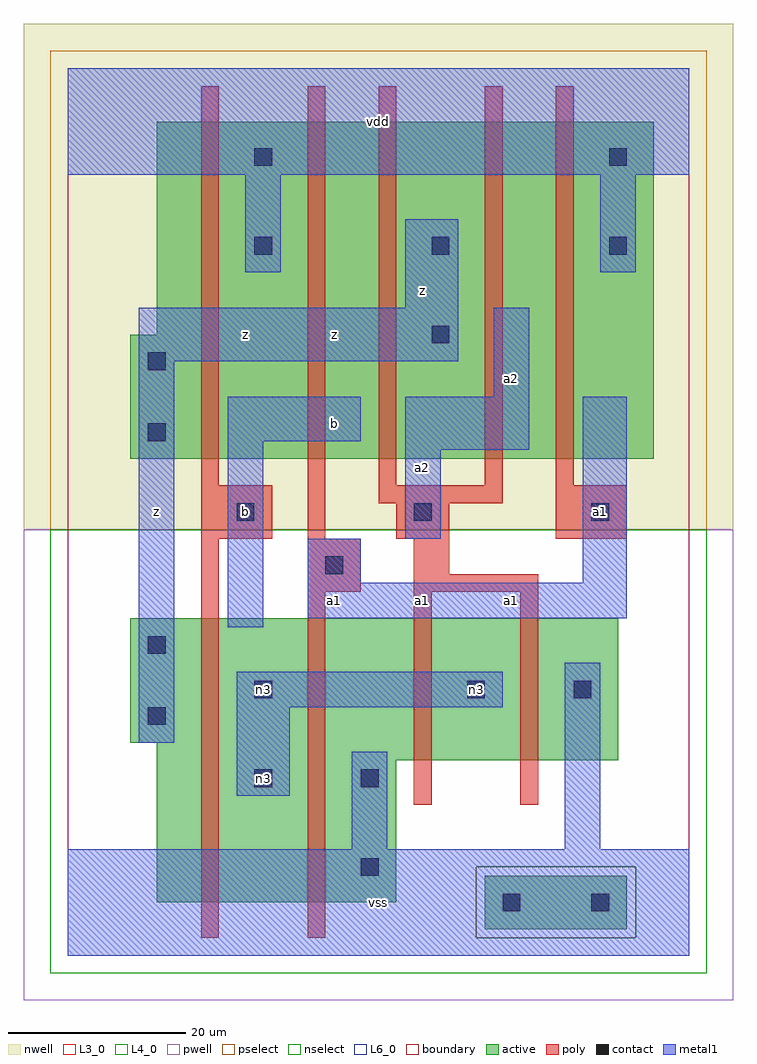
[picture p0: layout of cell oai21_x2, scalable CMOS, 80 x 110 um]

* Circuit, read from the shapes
.subckt oai21_x2 a1 a2 b n3 vdd vss z
M1 n3 b z vss nfet w=32u l=2u
M2 vss a1 n3 vss nfet w=32u l=2u
M3 n3 a2 vss vss nfet w=16u l=2u m=2
M4 vdd b z n1 pfet w=38u l=2u
M5 n2 a1 vdd n1 pfet w=38u l=2u
M6 z a2 n2 n1 pfet w=38u l=2u
M7 n4 a2 z n1 pfet w=38u l=2u
M8 vdd a1 n4 n1 pfet w=38u l=2u
.ends

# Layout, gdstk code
import gdstk
lib = gdstk.Library(unit=1e-6, precision=1e-09)
def R(c, l, rs):  # rectangles x0, y0, x1, y1
    for r in rs: c.add(gdstk.rectangle(r[:2], r[2:], *l))
def A(c, l, x, y, w, h, nx, ny, dx, dy):  # array of equal rectangles
    R(c, l, [(x+i*dx, y+j*dy, x+i*dx+w, y+j*dy+h) for i in range(nx) for j in range(ny)])
L3_0 = (3, 0)
L4_0 = (4, 0)
L6_0 = (6, 0)
contact = (25, 0)
pwell = (41, 0)
nwell = (42, 0)
active = (43, 0)
pselect = (44, 0)
nselect = (45, 0)
poly = (46, 0)
metal1 = (49, 0)
boundary = (63, 0)

oai21_x2 = lib.new_cell('oai21_x2')
R(oai21_x2, L3_0, [(10,6,37,22), (10,22,62,24), (7,24,62,38)])
R(oai21_x2, L4_0, [(7,56,66,70), (10,70,66,94)])
R(oai21_x2, L6_0, [(47,3,63,9)])
A(oai21_x2, contact, 19, 49, 2, 2, 3, 1, 20, 0)
A(oai21_x2, contact, 21, 79, 2, 2, 3, 1, 20, 0)
R(oai21_x2, contact, [(49,5,51,7), (59,5,61,7), (33,9,35,11), (21,19,23,21), (33,19,35,21), (9,26,11,28), (21,29,23,31), (45,29,47,31), (57,29,59,31), (9,34,11,36), (29,43,31,45), (9,58,11,60), (9,66,11,68), (41,69,43,71), (21,89,23,91), (61,89,63,91)])
R(oai21_x2, pwell, [(-5,-5,75,48)])
R(oai21_x2, nwell, [(-5,48,75,105)])
R(oai21_x2, active, [(47,3,63,9), (10,6,37,22), (10,22,62,24), (7,24,62,38), (7,56,66,70), (10,70,66,94)])
R(oai21_x2, pselect, [(46,2,64,10), (-2,48,72,102)])
R(oai21_x2, nselect, [(-2,-2,72,2), (-2,2,46,10), (64,2,72,10), (-2,10,72,48)])
R(oai21_x2, poly, [(15,2,17,47), (27,2,29,41), (39,17,41,41), (51,17,53,41), (27,41,33,47), (39,41,53,43), (39,43,43,47), (15,47,23,53), (27,47,29,98), (37,47,43,51), (55,47,63,53), (35,51,49,53), (15,53,17,98), (35,53,37,98), (47,53,49,98), (55,53,57,98)])
R(oai21_x2, metal1, [(0,0,70,12), (32,12,36,23), (56,12,60,33), (19,18,25,28), (8,24,12,67), (19,28,49,32), (18,37,22,58), (27,38,63,42), (27,42,33,47), (58,42,63,63), (38,47,42,57), (38,57,52,63), (18,58,33,63), (48,63,52,73), (8,67,44,73), (38,73,44,83), (20,77,24,88), (60,77,64,88), (0,88,70,100)])
R(oai21_x2, boundary, [(0,0,70,100)])
oai21_x2.add(gdstk.Label('n3', (22,20), layer=49, texttype=0))
oai21_x2.add(gdstk.Label('n3', (22,30), layer=49, texttype=0))
oai21_x2.add(gdstk.Label('n3', (46,30), layer=49, texttype=0))
oai21_x2.add(gdstk.Label('z', (10,50), layer=49, texttype=0))
oai21_x2.add(gdstk.Label('a1', (30,40), layer=49, texttype=0))
oai21_x2.add(gdstk.Label('b', (20,50), layer=49, texttype=0))
oai21_x2.add(gdstk.Label('z', (20,70), layer=49, texttype=0))
oai21_x2.add(gdstk.Label('z', (30,70), layer=49, texttype=0))
oai21_x2.add(gdstk.Label('b', (30,60), layer=49, texttype=0))
oai21_x2.add(gdstk.Label('vss', (35,6), layer=49, texttype=0))
oai21_x2.add(gdstk.Label('a1', (40,40), layer=49, texttype=0))
oai21_x2.add(gdstk.Label('a1', (50,40), layer=49, texttype=0))
oai21_x2.add(gdstk.Label('a2', (40,55), layer=49, texttype=0))
oai21_x2.add(gdstk.Label('a2', (50,65), layer=49, texttype=0))
oai21_x2.add(gdstk.Label('z', (40,75), layer=49, texttype=0))
oai21_x2.add(gdstk.Label('vdd', (35,94), layer=49, texttype=0))
oai21_x2.add(gdstk.Label('a1', (60,50), layer=49, texttype=0))

lib.write_gds('oai21_x2.gds')
